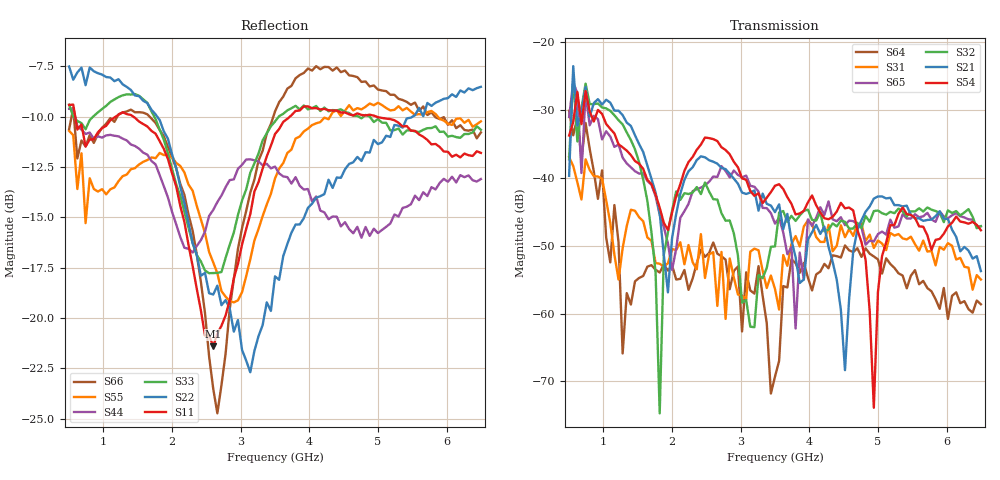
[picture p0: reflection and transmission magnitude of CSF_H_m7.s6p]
!Keysight Technologies,M9804A,MY58100912,A.14.10.03
!Date: Thursday, April 27, 2023 10:28:33
!Correction: S11(C  6-Port  )
!S12(C  6-Port  )
!S13(C  6-Port  )
!S14(C  6-Port  )
!S15(C  6-Port  )
!S16(C  6-Port  )
!S21(C  6-Port  )
!S22(C  6-Port  )
!S23(C  6-Port  )
!S24(C  6-Port  )
!S25(C  6-Port  )
!S26(C  6-Port  )
!S31(C  6-Port  )
!S32(C  6-Port  )
!S33(C  6-Port  )
!S34(C  6-Port  )
!S35(C  6-Port  )
!S36(C  6-Port  )
!S41(C  6-Port  )
!S42(C  6-Port  )
!S43(C  6-Port  )
!S44(C  6-Port  )
!S45(C  6-Port  )
!S46(C  6-Port  )
!S51(C  6-Port  )
!S52(C  6-Port  )
!S53(C  6-Port  )
!S54(C  6-Port  )
!S55(C  6-Port  )
!S56(C  6-Port  )
!S61(C  6-Port  )
!S62(C  6-Port  )
!S63(C  6-Port  )
!S64(C  6-Port  )
!S65(C  6-Port  )
!S66(C  6-Port  )
!S6P File: Measurement: :
# Hz S  RI  R 50
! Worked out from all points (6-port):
!   101 points, 500 MHz to 6.5 GHz, reference 50 ohm
!   strongest paths, dB at 500 MHz, 2 GHz, 3.5 GHz, 5 GHz, 6.5 GHz:
!     S54: -33.8, -45.1, -41.2, -56.8, -47.7
!     S21: -39.7, -48.9, -45.1, -42.8, -53.7
!     S32: -37.3, -44.8, -50.1, -44.8, -47.1
!     S65: -31.1, -53.6, -46.7, -48.3, -47.1
!     S31: -37.0, -50.5, -56.4, -49.2, -55.0
!     S64: -30.1, -52.9, -69.3, -52.0, -58.6
!   lowest |S11| = -21.4 dB at 2.6 GHz (marker M1), VSWR 1.19, Z = 42.4 + j2.19 ohm
!   |S11| at or under -10 dB: 589.1 MHz to 1.177 GHz (588 MHz wide, 66.6 % of centre); 1.436 GHz to 3.716 GHz (2.28 GHz wide, 88.5 % of centre); 4.981 GHz to end of sweep
